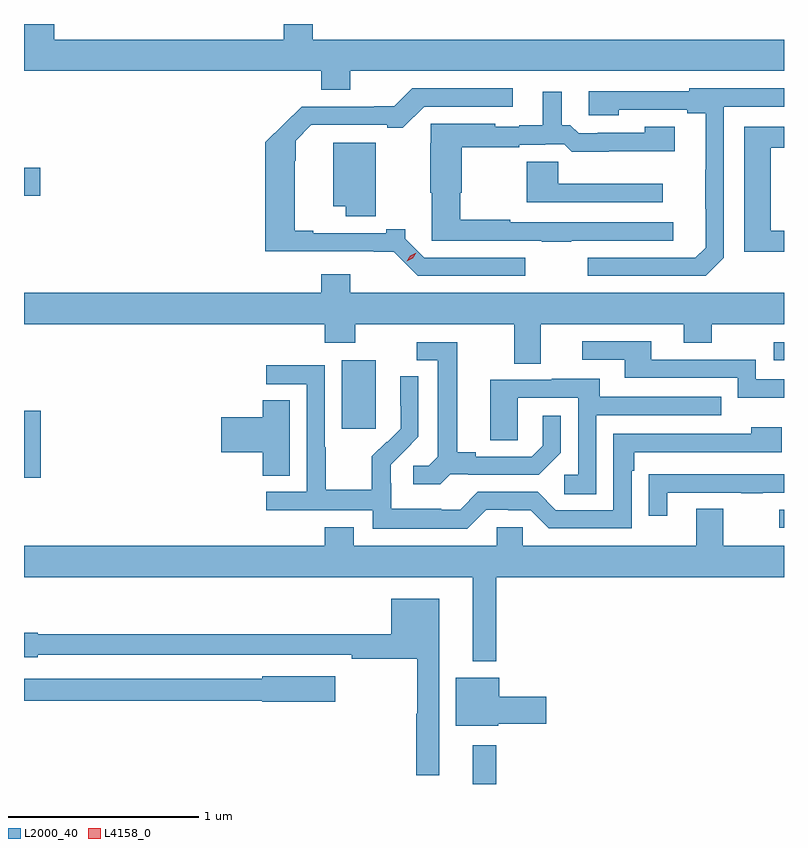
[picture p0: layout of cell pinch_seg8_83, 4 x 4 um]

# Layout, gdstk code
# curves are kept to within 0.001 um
import gdstk
lib = gdstk.Library(unit=1e-6, precision=1e-09)
def R(c, l, rs):  # rectangles x0, y0, x1, y1
    for r in rs: c.add(gdstk.rectangle(r[:2], r[2:], *l))
def P(c, l, *ps):  # polygons
    for p in ps: c.add(gdstk.Polygon(p, *l))
L2000_40 = (2000, 40)
L4158_0 = (4158, 0)

pinch_seg8_83 = lib.new_cell('pinch_seg8_83')
R(pinch_seg8_83, L2000_40, [(1059.785,1104.755,1059.907,1104.958), (1061.397,1106.103,1061.422,1106.199), (1057.422,1106.367,1057.511,1106.719), (1059.095,1106.625,1059.274,1106.986), (1061.367,1106.985,1061.422,1107.081), (1057.422,1107.851,1057.507,1107.998)])
P(pinch_seg8_83, L2000_40, [(1059.139,1108.508),(1061.422,1108.508),(1061.422,1108.672),(1058.942,1108.672),(1058.942,1108.755),(1058.79,1108.755),(1058.79,1108.672),(1057.58,1108.672),(1057.58,1108.755),(1057.422,1108.755),(1057.422,1108.508),(1058.987,1108.508),(1058.987,1108.409),(1059.139,1108.409)],
  [(1061.106,1107.525),(1061.106,1108.32),(1061.422,1108.32),(1061.422,1108.416),(1060.923,1108.416),(1060.923,1108.401),(1060.395,1108.401),(1060.395,1108.274),(1060.551,1108.274),(1060.551,1108.305),(1060.913,1108.305),(1060.913,1108.285),(1061.009,1108.285),(1061.009,1107.578),(1060.956,1107.525),(1060.389,1107.525),(1060.389,1107.429),(1061.01,1107.429)],
  [(1060.06,1107.525),(1059.528,1107.525),(1059.429,1107.624),(1059.429,1107.674),(1059.329,1107.674),(1059.329,1107.654),(1058.944,1107.654),(1058.944,1107.667),(1058.848,1107.667),(1058.848,1108.034),(1058.851,1108.034),(1058.851,1108.141),(1058.934,1108.224),(1059.335,1108.224),(1059.335,1108.208),(1059.416,1108.208),(1059.528,1108.32),(1059.994,1108.32),(1059.994,1108.416),(1059.465,1108.416),(1059.371,1108.322),(1059.266,1108.322),(1059.266,1108.32),(1058.883,1108.32),(1058.793,1108.23),(1058.791,1108.231),(1058.693,1108.133),(1058.693,1107.558),(1059.368,1107.557),(1059.495,1107.429),(1060.06,1107.429)],
  [(1060.301,1107.615),(1060.84,1107.615),(1060.84,1107.711),(1059.98,1107.711),(1059.98,1107.724),(1059.717,1107.724),(1059.717,1107.867),(1059.726,1107.867),(1059.726,1108.107),(1060.029,1108.107),(1060.029,1108.119),(1060.166,1108.119),(1060.166,1108.122),(1060.266,1108.122),(1060.306,1108.083),(1060.499,1108.083),(1060.499,1108.085),(1060.846,1108.085),(1060.846,1108.213),(1060.69,1108.213),(1060.69,1108.182),(1060.441,1108.182),(1060.441,1108.179),(1060.341,1108.179),(1060.298,1108.223),(1060.252,1108.223),(1060.252,1108.399),(1060.151,1108.399),(1060.151,1108.223),(1060.029,1108.223),(1060.029,1108.215),(1059.903,1108.215),(1059.903,1108.231),(1059.562,1108.231),(1059.562,1108.127),(1059.56,1108.127),(1059.56,1107.867),(1059.569,1107.867),(1059.569,1107.615),(1060.147,1107.615),(1060.147,1107.61),(1060.301,1107.61)],
  [(1061.422,1107.667),(1061.353,1107.667),(1061.353,1108.105),(1061.422,1108.105),(1061.422,1108.214),(1061.213,1108.214),(1061.213,1107.557),(1061.422,1107.557)],
  [(1059.274,1108.129),(1059.05,1108.129),(1059.05,1107.797),(1059.116,1107.797),(1059.116,1107.744),(1059.274,1107.744)],
  [(1060.783,1107.913),(1060.235,1107.913),(1060.235,1108.03),(1060.069,1108.03),(1060.069,1107.816),(1060.783,1107.816)],
  [(1058.987,1107.439),(1058.987,1107.34),(1057.422,1107.34),(1057.422,1107.176),(1059.005,1107.176),(1059.005,1107.077),(1059.165,1107.077),(1059.165,1107.176),(1060.001,1107.176),(1060.001,1106.968),(1060.141,1106.968),(1060.141,1107.176),(1060.895,1107.176),(1060.895,1107.077),(1061.043,1107.077),(1061.043,1107.176),(1061.422,1107.176),(1061.422,1107.34),(1059.139,1107.34),(1059.139,1107.439)],
  [(1061.422,1106.886),(1061.274,1106.886),(1061.274,1106.988),(1060.723,1106.988),(1060.723,1107.084),(1060.359,1107.084),(1060.359,1106.988),(1060.583,1106.988),(1060.583,1106.892),(1061.178,1106.892),(1061.178,1106.789),(1061.422,1106.789)],
  [(1059.666,1106.385),(1059.76,1106.385),(1059.76,1106.382),(1060.132,1106.382),(1060.248,1106.498),(1060.248,1106.692),(1060.151,1106.692),(1060.151,1106.535),(1060.094,1106.478),(1059.799,1106.478),(1059.799,1106.501),(1059.703,1106.501),(1059.703,1107.081),(1059.489,1107.081),(1059.489,1106.985),(1059.599,1106.985),(1059.599,1106.477),(1059.552,1106.43),(1059.471,1106.43),(1059.471,1106.333),(1059.614,1106.333)],
  [(1059.855,1106.199),(1059.971,1106.199),(1059.971,1106.196),(1060.089,1106.196),(1060.185,1106.1),(1060.62,1106.1),(1060.62,1106.405),(1060.633,1106.405),(1060.633,1106.502),(1061.41,1106.502),(1061.41,1106.632),(1061.249,1106.632),(1061.249,1106.598),(1060.524,1106.598),(1060.524,1106.196),(1060.221,1106.196),(1060.125,1106.292),(1059.81,1106.292),(1059.717,1106.199),(1059.617,1106.199),(1059.617,1106.203),(1059.354,1106.203),(1059.354,1106.337),(1059.352,1106.337),(1059.352,1106.434),(1059.498,1106.582),(1059.498,1106.9),(1059.402,1106.9),(1059.402,1106.746),(1059.404,1106.746),(1059.404,1106.624),(1059.333,1106.553),(1059.33,1106.556),(1059.253,1106.479),(1059.253,1106.305),(1059.009,1106.305),(1059.009,1106.528),(1059.006,1106.528),(1059.006,1106.958),(1058.697,1106.958),(1058.697,1106.859),(1058.91,1106.859),(1058.91,1106.292),(1058.697,1106.292),(1058.697,1106.196),(1059.258,1106.196),(1059.258,1106.099),(1059.755,1106.099)],
  [(1060.434,1106.697),(1061.093,1106.697),(1061.093,1106.793),(1060.453,1106.793),(1060.453,1106.887),(1060.199,1106.887),(1060.199,1106.883),(1059.875,1106.883),(1059.875,1106.563),(1060.02,1106.563),(1060.02,1106.787),(1060.338,1106.787),(1060.338,1106.382),(1060.266,1106.382),(1060.266,1106.281),(1060.434,1106.281)],
  [(1058.821,1106.774),(1058.678,1106.774),(1058.678,1106.684),(1058.46,1106.684),(1058.46,1106.501),(1058.678,1106.501),(1058.678,1106.377),(1058.821,1106.377)],
  [(1060.807,1106.289),(1061.197,1106.289),(1061.197,1106.284),(1061.309,1106.284),(1061.309,1106.289),(1061.422,1106.289),(1061.422,1106.385),(1060.813,1106.385),(1060.813,1106.384),(1060.711,1106.384),(1060.711,1106.166),(1060.807,1106.166)],
  [(1059.907,1105.844),(1061.422,1105.844),(1061.422,1106.008),(1061.101,1106.008),(1061.101,1106.203),(1060.961,1106.203),(1060.961,1106.008),(1060.047,1106.008),(1060.047,1106.106),(1059.909,1106.106),(1059.909,1106.008),(1059.157,1106.008),(1059.157,1106.107),(1059.005,1106.107),(1059.005,1106.008),(1057.422,1106.008),(1057.422,1105.844),(1059.785,1105.844),(1059.785,1105.4),(1059.907,1105.4)],
  [(1059.607,1105.729),(1059.356,1105.729),(1059.356,1105.543),(1057.494,1105.543),(1057.494,1105.551),(1057.422,1105.551),(1057.422,1105.421),(1057.494,1105.421),(1057.494,1105.434),(1059.148,1105.434),(1059.148,1105.414),(1059.493,1105.414),(1059.493,1105.125),(1059.486,1105.125),(1059.486,1104.801),(1059.607,1104.801)],
  [(1059.061,1105.321),(1058.676,1105.321),(1058.676,1105.308),(1057.422,1105.308),(1057.422,1105.192),(1058.676,1105.192),(1058.676,1105.187),(1059.061,1105.187)],
  [(1059.918,1105.072),(1060.171,1105.072),(1060.171,1105.214),(1059.922,1105.214),(1059.922,1105.315),(1059.695,1105.315),(1059.695,1105.061),(1059.918,1105.061)])
P(pinch_seg8_83, L4158_0, [(1059.437,1107.507),(1059.437,1107.507),(1059.455,1107.536),(1059.486,1107.551),(1059.486,1107.551),(1059.486,1107.551),(1059.468,1107.522),(1059.437,1107.507)])

lib.write_gds('pinch_seg8_83.gds')
